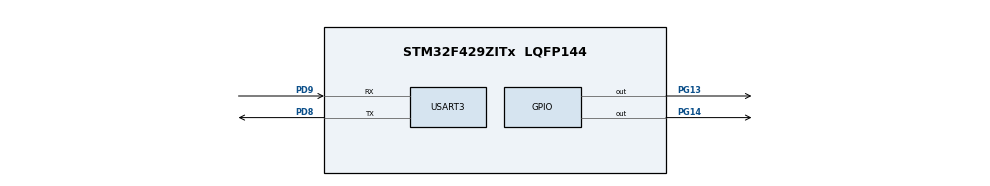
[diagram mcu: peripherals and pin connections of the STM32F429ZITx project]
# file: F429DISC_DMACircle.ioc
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Dma.Request0=USART3_RX
Dma.USART3_RX.0.Direction=DMA_PERIPH_TO_MEMORY
Dma.USART3_RX.0.FIFOMode=DMA_FIFOMODE_DISABLE
Dma.USART3_RX.0.Instance=DMA1_Stream1
Dma.USART3_RX.0.MemDataAlignment=DMA_MDATAALIGN_BYTE
Dma.USART3_RX.0.MemInc=DMA_MINC_ENABLE
Dma.USART3_RX.0.Mode=DMA_CIRCULAR
Dma.USART3_RX.0.PeriphDataAlignment=DMA_PDATAALIGN_BYTE
Dma.USART3_RX.0.PeriphInc=DMA_PINC_DISABLE
Dma.USART3_RX.0.Priority=DMA_PRIORITY_LOW
FREERTOS.Tasks01=defaultTask,24,128,StartDefaultTask,Default,NULL,Dynamic,NULL,NULL
FREERTOS.configTOTAL_HEAP_SIZE=0x20000
Mcu.Family=STM32F4
Mcu.Name=STM32F429ZITx
Mcu.Package=LQFP144
NVIC.DMA1_Stream1_IRQn=true\:5\:0\:false\:false\:true\:true\:false\:true
NVIC.PriorityGroup=NVIC_PRIORITYGROUP_4
NVIC.USART3_IRQn=true\:5\:0\:false\:false\:true\:true\:true\:true
PD8.Mode=Asynchronous
PD8.Signal=USART3_TX
PD9.Mode=Asynchronous
PD9.Signal=USART3_RX
PG13.Signal=GPIO_Output
PG14.Signal=GPIO_Output
PH0/OSC_IN.Mode=HSE-External-Oscillator
PH0/OSC_IN.Signal=RCC_OSC_IN
PH1/OSC_OUT.Mode=HSE-External-Oscillator
PH1/OSC_OUT.Signal=RCC_OSC_OUT
ProjectManager.HeapSize=0x200
ProjectManager.StackSize=0x400
ProjectManager.TargetToolchain=STM32CubeIDE
RCC.48MHZClocksFreq_Value=90000000
RCC.AHBFreq_Value=180000000
RCC.APB1CLKDivider=RCC_HCLK_DIV4
RCC.APB1Freq_Value=45000000
RCC.APB1TimFreq_Value=90000000
RCC.APB2CLKDivider=RCC_HCLK_DIV2
RCC.APB2Freq_Value=90000000
RCC.APB2TimFreq_Value=180000000
RCC.CortexFreq_Value=180000000
RCC.HCLKFreq_Value=180000000
RCC.HSE_VALUE=8000000
RCC.HSI_VALUE=16000000
RCC.LSE_VALUE=32768
RCC.PLLM=4
RCC.PLLN=180
RCC.PLLSourceVirtual=RCC_PLLSOURCE_HSE
RCC.SYSCLKFreq_VALUE=180000000
RCC.SYSCLKSource=RCC_SYSCLKSOURCE_PLLCLK
RCC.VCOOutputFreq_Value=360000000
USART3.VirtualMode=VM_ASYNC
VP_FREERTOS_VS_CMSIS_V2.Mode=CMSIS_V2
board=custom

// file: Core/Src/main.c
/* USER CODE BEGIN Header */
/**
  ******************************************************************************
  * @file           : main.c
  * @brief          : Main program body
  ******************************************************************************
  * @attention
  *
  * <h2><center>&copy; Copyright (c) 2021 STMicroelectronics.
  * All rights reserved.</center></h2>
  *
  * This software component is licensed by ST under BSD 3-Clause license,
  * the "License"; You may not use this file except in compliance with the
  * License. You may obtain a copy of the License at:
  *                        opensource.org/licenses/BSD-3-Clause
  *
  ******************************************************************************
  */
/* USER CODE END Header */
#include "main.h"
#include "cmsis_os.h"
#include "dma.h"
#include "usart.h"
#include "gpio.h"

/* USER CODE BEGIN 0 */
void SystemClock_Config(void);
void MX_FREERTOS_Init(void);
/* USER CODE END 0 */

int main(void)
{

  /* MCU Configuration--------------------------------------------------------*/

  /* Reset of all peripherals, Initializes the Flash interface and the Systick. */

  LL_APB2_GRP1_EnableClock(LL_APB2_GRP1_PERIPH_SYSCFG);
  LL_APB1_GRP1_EnableClock(LL_APB1_GRP1_PERIPH_PWR);

  NVIC_SetPriorityGrouping(NVIC_PRIORITYGROUP_4);

  /* System interrupt init*/
  /* PendSV_IRQn interrupt configuration */
  NVIC_SetPriority(PendSV_IRQn, NVIC_EncodePriority(NVIC_GetPriorityGrouping(),15, 0));
  /* SysTick_IRQn interrupt configuration */
  NVIC_SetPriority(SysTick_IRQn, NVIC_EncodePriority(NVIC_GetPriorityGrouping(),15, 0));

  /* Configure the system clock */
  SystemClock_Config();

  /* Initialize all configured peripherals */
  MX_GPIO_Init();
  MX_DMA_Init();
  MX_USART3_UART_Init();

  /* Init scheduler */
  osKernelInitialize();  /* Call init function for freertos objects (in freertos.c) */
  MX_FREERTOS_Init();
  /* Start scheduler */
  osKernelStart();

  /* We should never get here as control is now taken by the scheduler */
  /* Infinite loop */
  while (1)
  {

  }
}

void SystemClock_Config(void)
{
  LL_FLASH_SetLatency(LL_FLASH_LATENCY_5);
  while(LL_FLASH_GetLatency()!= LL_FLASH_LATENCY_5)
  {
  }
  LL_PWR_SetRegulVoltageScaling(LL_PWR_REGU_VOLTAGE_SCALE1);
  LL_PWR_EnableOverDriveMode();
  LL_RCC_HSE_Enable();

   /* Wait till HSE is ready */
  while(LL_RCC_HSE_IsReady() != 1)
  {

  }
  LL_RCC_PLL_ConfigDomain_SYS(LL_RCC_PLLSOURCE_HSE, LL_RCC_PLLM_DIV_4, 180, LL_RCC_PLLP_DIV_2);
  LL_RCC_PLL_Enable();

   /* Wait till PLL is ready */
  while(LL_RCC_PLL_IsReady() != 1)
  {

  }
  LL_RCC_SetAHBPrescaler(LL_RCC_SYSCLK_DIV_1);
  LL_RCC_SetAPB1Prescaler(LL_RCC_APB1_DIV_4);
  LL_RCC_SetAPB2Prescaler(LL_RCC_APB2_DIV_2);
  LL_RCC_SetSysClkSource(LL_RCC_SYS_CLKSOURCE_PLL);

   /* Wait till System clock is ready */
  while(LL_RCC_GetSysClkSource() != LL_RCC_SYS_CLKSOURCE_STATUS_PLL)
  {

  }
  LL_Init1msTick(180000000);
  LL_SetSystemCoreClock(180000000);
  LL_RCC_SetTIMPrescaler(LL_RCC_TIM_PRESCALER_TWICE);
}

void Error_Handler(void)
{
  __disable_irq();
  while (1)
  {
  }
}

/************************ (C) COPYRIGHT STMicroelectronics *****END OF FILE****/

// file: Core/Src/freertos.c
/* USER CODE BEGIN Header */
/**
  ******************************************************************************
  * File Name          : freertos.c
  * Description        : Code for freertos applications
  ******************************************************************************
  * @attention
  *
  * <h2><center>&copy; Copyright (c) 2021 STMicroelectronics.
  * All rights reserved.</center></h2>
  *
  * This software component is licensed by ST under Ultimate Liberty license
  * SLA0044, the "License"; You may not use this file except in compliance with
  * the License. You may obtain a copy of the License at:
  *                             www.st.com/SLA0044
  *
  ******************************************************************************
  */
/* USER CODE END Header */

#include "FreeRTOS.h"
#include "task.h"
#include "main.h"
#include "gpio.h"
#include "usart.h"
#include "cmsis_os.h"

/* USER CODE BEGIN PTD */
#define ARRAY_LEN(x)            (sizeof(x) / sizeof((x)[0]))
osMessageQueueId_t usart_rx_dma_queue_id;
extern uint8_t usart_rx_dma_buffer[64];

/* USER CODE END PTD */

/* USER CODE BEGIN Variables */
osThreadId_t ledTask;
const osThreadAttr_t ledTask_attributes = {
  .name = "ledTask",
  .priority = (osPriority_t) osPriorityNormal,
  .stack_size = 128 * 4
};
/* USER CODE END Variables */
/* Definitions for defaultTask */
osThreadId_t defaultTaskHandle;
const osThreadAttr_t defaultTask_attributes = {
  .name = "defaultTask",
  .priority = (osPriority_t) osPriorityNormal,
  .stack_size = 128 * 4
};

/* USER CODE BEGIN FunctionPrototypes */
void StartLedtTask(void *argument);
void usart_rx_check(void);
void usart_process_data(const void* data, size_t len);
void usart_send_string(const char* str);
/* USER CODE END FunctionPrototypes */

void StartDefaultTask(void *argument);

void MX_FREERTOS_Init(void); /* (MISRA C 2004 rule 8.1) */

void MX_FREERTOS_Init(void) {

  /* Create the thread(s) */
  /* creation of defaultTask */
  defaultTaskHandle = osThreadNew(StartDefaultTask, NULL, &defaultTask_attributes);

  /* USER CODE BEGIN RTOS_THREADS */
  /* add threads, ... */
  ledTask = osThreadNew(StartLedtTask, NULL, &ledTask_attributes);
  /* USER CODE END RTOS_THREADS */

}

void StartDefaultTask(void *argument)
{
  /* USER CODE BEGIN StartDefaultTask */
	void* d;
	usart_rx_dma_queue_id = osMessageQueueNew(10, sizeof(void *), NULL);

	/* Notify user to start sending data */
	usart_send_string("USART DMA example: DMA HT & TC + USART IDLE LINE IRQ + RTOS processing\r\n");
	usart_send_string("Start sending data to STM32\r\n");

	while (1) {
		/* Block thread and wait for event to process USART data */
		osMessageQueueGet(usart_rx_dma_queue_id, &d, NULL, osWaitForever);

		/* Simply call processing function */
		usart_rx_check();

		(void)d;
	}
  /* USER CODE END StartDefaultTask */
}

/**
 * \brief           Check for new data received with DMA
 */
void
usart_rx_check(void) {
    static size_t old_pos;
    size_t pos;

    /* Calculate current position in buffer */
    pos = ARRAY_LEN(usart_rx_dma_buffer) - LL_DMA_GetDataLength(DMA1, LL_DMA_STREAM_1);
    if (pos != old_pos) {                       /* Check change in received data */
        if (pos > old_pos) {                    /* Current position is over previous one */
            /* We are in "linear" mode */
            /* Process data directly by subtracting "pointers" */
            usart_process_data(&usart_rx_dma_buffer[old_pos], pos - old_pos);
        } else {
            /* We are in "overflow" mode */
            /* First process data to the end of buffer */
            usart_process_data(&usart_rx_dma_buffer[old_pos], ARRAY_LEN(usart_rx_dma_buffer) - old_pos);
            /* Check and continue with beginning of buffer */
            if (pos > 0) {
                usart_process_data(&usart_rx_dma_buffer[0], pos);
            }
        }
        old_pos = pos;                          /* Save current position as old */
    }
}

/**
 * \brief           Process received data over UART
 * \note            Either process them directly or copy to other bigger buffer
 * \param[in]       data: Data to process
 * \param[in]       len: Length in units of bytes
 */
void
usart_process_data(const void* data, size_t len) {
    const uint8_t* d = data;

    /*
     * This function is called on DMA TC and HT events, aswell as on UART IDLE (if enabled) line event.
     *
     * For the sake of this example, function does a loop-back data over UART in polling mode.
     * Check ringbuff RX-based example for implementation with TX & RX DMA transfer.
     */

    for (; len > 0; --len, ++d) {
        LL_USART_TransmitData8(USART3, *d);
        while (!LL_USART_IsActiveFlag_TXE(USART3)) {}
    }
    while (!LL_USART_IsActiveFlag_TC(USART3)) {}
}

/**
 * \brief           Send string to USART
 * \param[in]       str: String to send
 */
void
usart_send_string(const char* str) {
    usart_process_data(str, strlen(str));
}

/* USER CODE BEGIN Application */
void StartLedtTask(void *argument)
{
  /* USER CODE BEGIN StartDefaultTask */
  /* Infinite loop */
  for(;;)
  {
    LL_GPIO_TogglePin(GPIOG, LL_GPIO_PIN_13);
    osDelay(500);
    LL_GPIO_TogglePin(GPIOG, LL_GPIO_PIN_14);
    osDelay(500);
  }
  /* USER CODE END StartDefaultTask */
}
/* USER CODE END Application */

/************************ (C) COPYRIGHT STMicroelectronics *****END OF FILE****/
